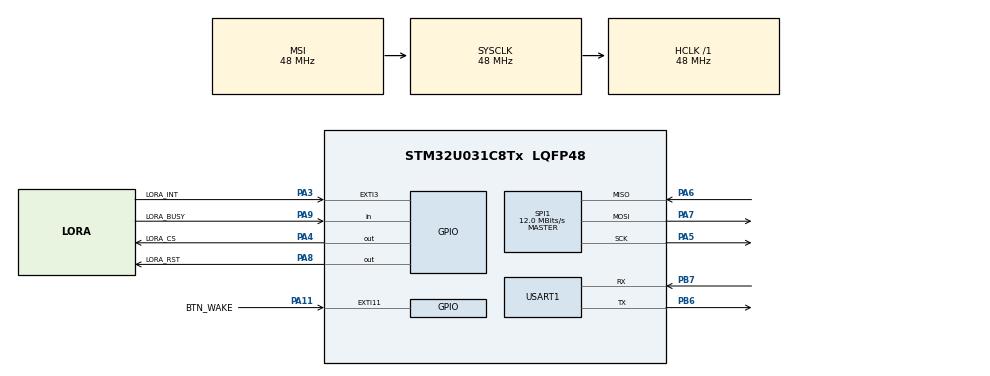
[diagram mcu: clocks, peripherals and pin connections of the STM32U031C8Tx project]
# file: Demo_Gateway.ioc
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Mcu.Family=STM32U0
Mcu.Name=STM32U031C8Tx
Mcu.Package=LQFP48
Mcu.UserConstants=RTC_PREDIV_A,((1<<(15-RTC_N_PREDIV_S))-1);RTC_N_PREDIV_S,10;RTC_PREDIV_S,((1<<RTC_N_PREDIV_S)-1)
NVIC.EXTI2_3_IRQn=true\:0\:0\:false\:false\:true\:true\:true\:true
NVIC.EXTI4_15_IRQn=true\:0\:0\:false\:false\:true\:true\:true\:true
NVIC.PriorityGroup=NVIC_PRIORITYGROUP_2
PA11\ [PA9].GPIO_Label=BTN_WAKE
PA11\ [PA9].GPIO_ModeDefaultEXTI=GPIO_MODE_IT_FALLING
PA11\ [PA9].Signal=GPXTI11
PA13\ (SWDIO).Mode=Serial_Wire
PA13\ (SWDIO).Signal=DEBUG_JTMS-SWDIO
PA14\ (SWCLK).Mode=Serial_Wire
PA14\ (SWCLK).Signal=DEBUG_JTCK-SWCLK
PA3.GPIO_Label=LORA_INT
PA3.Signal=GPXTI3
PA4.GPIO_Label=LORA_CS
PA4.PinState=GPIO_PIN_SET
PA4.Signal=GPIO_Output
PA5.Mode=Full_Duplex_Master
PA5.Signal=SPI1_SCK
PA6.Mode=Full_Duplex_Master
PA6.Signal=SPI1_MISO
PA7.Mode=Full_Duplex_Master
PA7.Signal=SPI1_MOSI
PA8.GPIO_Label=LORA_RST
PA8.PinState=GPIO_PIN_SET
PA8.Signal=GPIO_Output
PA9.GPIO_Label=LORA_BUSY
PA9.Signal=GPIO_Input
PB6.Mode=Asynchronous
PB6.Signal=USART1_TX
PB7.Mode=Asynchronous
PB7.Signal=USART1_RX
ProjectManager.HeapSize=0x200
ProjectManager.StackSize=0x400
ProjectManager.TargetToolchain=STM32CubeIDE
RCC.ADCFreq_Value=48000000
RCC.AHBFreq_Value=48000000
RCC.CortexFreq_Value=48000000
RCC.HCLKFreq_Value=48000000
RCC.HSE_VALUE=8000000
RCC.HSI48_VALUE=48000000
RCC.HSI_VALUE=16000000
RCC.LSE_VALUE=32768
RCC.MSIClockRangeVal=RCC_MSIRANGE_11
RCC.MSI_VALUE=48000000
RCC.PLLN=8
RCC.PLLP=RCC_PLLP_DIV8
RCC.PLLQ=RCC_PLLQ_DIV8
RCC.PLLR=RCC_PLLR_DIV4
RCC.PLLSourceVirtual=RCC_PLLSOURCE_MSI
RCC.SYSCLKFreq_VALUE=48000000
RCC.SYSCLKSource=RCC_SYSCLKSOURCE_MSI
RCC.VCOOutputFreq_Value=384000000
SPI1.BaudRatePrescaler=SPI_BAUDRATEPRESCALER_4
SPI1.CalculateBaudRate=12.0 MBits/s
SPI1.DataSize=SPI_DATASIZE_8BIT
SPI1.Direction=SPI_DIRECTION_2LINES
SPI1.Mode=SPI_MODE_MASTER
SPI1.VirtualType=VM_MASTER
USART1.VirtualMode-Asynchronous=VM_ASYNC
VP_PWR_VS_SECSignals.Mode=Security/Privilege
board=custom

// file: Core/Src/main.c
/* USER CODE BEGIN Header */
/**
  ******************************************************************************
  * @file           : main.c
  * @brief          : Main program body
  ******************************************************************************
  * @attention
  *
  * Copyright (c) 2024 STMicroelectronics.
  * All rights reserved.
  *
  * This software is licensed under terms that can be found in the LICENSE file
  * in the root directory of this software component.
  * If no LICENSE file comes with this software, it is provided AS-IS.
  *
  ******************************************************************************
  */
/* USER CODE END Header */
#include "main.h"
#include "spi.h"
#include "usart.h"
#include "gpio.h"

/* USER CODE BEGIN Includes */
#include "TraceLog/TraceLog.h"

#include "lora/radio/radio.h"
#include "lora/sx126x/sx126x_bsp.h"
#include "lora/sx126x/sx126x.h"
#include "string.h"
#include "stdio.h"

/* USER CODE END Includes */

/* USER CODE BEGIN PM */
#define RF_FREQUENCY 923000000  // Hz
#define TX_OUTPUT_POWER 22		// dBm
#define LORA_BANDWIDTH 0		// [0: 125 kHz, 1: 250 kHz, 2: 500 kHz, 3: Reserved]
#define LORA_SPREADING_FACTOR 7 // [SF7..SF12]
#define LORA_CODINGRATE 1		// [1: 4/5, 2: 4/6,  3: 4/7,  4: 4/8]
#define LORA_PREAMBLE_LENGTH 8  // Same for Tx and Rx
#define LORA_SYMBOL_TIMEOUT 0   // Symbols
#define LORA_FIX_LENGTH_PAYLOAD_ON false
#define LORA_IQ_INVERSION_ON false
#define BUFFER_SIZE 64 // Define the payload size here

#define ALL_DEVEUI       0xFF
#define CALLPOINT_DEVEUI 0x73
#define SENSOR_DEVEUI    0x74
/* USER CODE END PM */

/* USER CODE BEGIN PV */
typedef enum {
	CMD_UNKNOWN,
	CMD_STATUS,
	CMD_STATUS_DAILY,
	CMD_SET_STANDBY_TIME,
	CMD_ACK,
	CMD_STOP_SENSOR,
	CMD_STATUS_ENDCALLPOINT,
} lora_pktcmd_t;

typedef struct {
	/// Receive flag
	uint8_t recv;
	/// Received signal param
	int16_t rssi;
	int8_t  snr;
	/// Received payload
	uint8_t recvbuffer[BUFFER_SIZE];
	uint8_t recvlen;
	/// Received parse param
	uint8_t deveui;
	lora_pktcmd_t cmd;
	uint8_t value_len;
	uint8_t value[8];
	uint8_t req_ack;
} lora_rxpkt_t;
typedef struct {
	uint8_t deveui;
	lora_pktcmd_t cmd;
	uint8_t value_len;
	uint8_t value[8];
	uint8_t req_ack;
	uint8_t resp_ack;
} lora_txpkt_t;
/* USER CODE END PV */

void SystemClock_Config(void);
/* USER CODE BEGIN PFP */
void OnTxDone(void);
void OnRxDone(uint8_t *payload, uint16_t size, int16_t rssi, int8_t snr);
/* USER CODE END PFP */

/* USER CODE BEGIN 0 */
static const char *TAG = "GATEWAY";
static RadioEvents_t RadioEvents;

volatile uint8_t btn_press = 0, btn_acction = 0;
lora_rxpkt_t rxpkt = {
	.recv = 0,
	.rssi = 0,
	.snr  = 0,
	.recvlen = 0,
	.deveui = 0,
	.cmd = CMD_UNKNOWN,
	.value_len = 0,
	.req_ack = 0,
};
lora_txpkt_t txpkt = {
	.deveui = 0,
	.cmd = CMD_UNKNOWN,
	.value_len = 0,
	.req_ack = 0,
	.resp_ack = 1,
};
uint32_t ack_timeout = 0;

static void tracelog(char *str);
void send_packet(void);
/* USER CODE END 0 */

int main(void)
{

  /* MCU Configuration--------------------------------------------------------*/

  /* Reset of all peripherals, Initializes the Flash interface and the Systick. */
  HAL_Init();

  /* Configure the system clock */
  SystemClock_Config();

  /* Initialize all configured peripherals */
  MX_GPIO_Init();
  MX_SPI1_Init();
  MX_USART1_UART_Init();
  /* USER CODE BEGIN 2 */

  	log_monitor_init(tracelog);

	SX126xIoInit();
	uint16_t readSyncWord = 0;
	SX126xReadRegisters(REG_LR_SYNCWORD, (uint8_t *)&readSyncWord, 2);
	LOG_INFO(TAG, "SyncWord = 0x%04x", readSyncWord);

	RadioEvents.TxDone = OnTxDone;
	RadioEvents.RxDone = OnRxDone;
	Radio.Init(&RadioEvents);
	Radio.SetChannel(RF_FREQUENCY);

	Radio.SetTxConfig(MODEM_LORA, TX_OUTPUT_POWER, 0, LORA_BANDWIDTH,
					  LORA_SPREADING_FACTOR, LORA_CODINGRATE,
					  LORA_PREAMBLE_LENGTH, LORA_FIX_LENGTH_PAYLOAD_ON,
					  true, 0, 0, LORA_IQ_INVERSION_ON, 0);
	Radio.SetRxConfig(MODEM_LORA, LORA_BANDWIDTH, LORA_SPREADING_FACTOR,
					  LORA_CODINGRATE, 0, LORA_PREAMBLE_LENGTH,
					  LORA_SYMBOL_TIMEOUT, LORA_FIX_LENGTH_PAYLOAD_ON,
					  0, true, 0, 0, LORA_IQ_INVERSION_ON, true);
	LOG_INFO(TAG, "Starting Gateway");
	Radio.Rx(0);

  /* USER CODE END 2 */

  /* Infinite loop */
  while (1)
  {

    /* USER CODE BEGIN 3 */
	  Radio.BgIrqProcess();

	  /// Button press
	  if(btn_press == 1){
		  btn_press = 0;
		  if(btn_acction == 1){
	  		  /// Send standby time if process was not started.
			  txpkt.deveui = ALL_DEVEUI;
			  txpkt.cmd = CMD_SET_STANDBY_TIME;
			  txpkt.value_len = 1;
			  txpkt.value[0] = 10;
			  txpkt.req_ack = 1;
			  send_packet();
			  LOG_EVENT(TAG, "Sent standby time to all device.");
		  }
		  else{
			  txpkt.deveui = SENSOR_DEVEUI;
			  txpkt.cmd = CMD_STOP_SENSOR;
			  txpkt.value_len = 0;
			  txpkt.req_ack = 1;
			  send_packet();
			  LOG_EVENT(TAG, "Sent stop measure sensor to light-sound device.");
		  }
	  }

	  /// Check ACK timeout
	  if(txpkt.req_ack == 1 && txpkt.resp_ack == 0){
		  if(HAL_GetTick() - ack_timeout > 5000){
			  LOG_ERROR(TAG, "DevEUI 0x%02x not response ACK.", txpkt.deveui);
			  txpkt.req_ack = 0;
		  }
	  }

	  /// Packet receive from device
	  if(rxpkt.recv == 1){
		  switch(rxpkt.cmd){
		  	  case CMD_ACK:
		  		  txpkt.req_ack = 0;
		  		  txpkt.resp_ack = 1;
		  		  LOG_INFO(TAG, "DevEUI 0x%02x responsed ACK.", rxpkt.deveui);
			  break;
			  break;
		  	  case CMD_STATUS:
		  	  case CMD_STATUS_DAILY:
		  		  LOG_WARN(TAG, "DevEUI 0x%02x sent status %d param, payload:", rxpkt.deveui, rxpkt.value_len);
		  		  for(uint8_t i=0; i<rxpkt.value_len; i++)
		  			LOG_INFO(TAG, "%d", rxpkt.value[i]);
		  	  break;
		  	  case CMD_STATUS_ENDCALLPOINT:
		  		  LOG_INFO(TAG, "CallPoint stopped motor.");
		  	  break;
		  	  default:
		  	  break;
		  }
		  /// Packet require ACK
		  if(rxpkt.req_ack == 1){
			  txpkt.deveui = rxpkt.deveui;
			  txpkt.cmd = CMD_ACK;
			  txpkt.value_len = 0;
			  txpkt.req_ack = 0;
			  send_packet();
			  LOG_EVENT(TAG, "Sent ACK to DevEUI 0x%02x.", txpkt.deveui);
		  }

		  rxpkt.recv = 0;
		  rxpkt.recvlen = 0;
		  rxpkt.deveui = 0;
		  rxpkt.cmd = CMD_UNKNOWN;
		  rxpkt.value_len = 0;
	  }
  }
  /* USER CODE END 3 */
}

void SystemClock_Config(void)
{
  RCC_OscInitTypeDef RCC_OscInitStruct = {0};
  RCC_ClkInitTypeDef RCC_ClkInitStruct = {0};

  /** Configure the main internal regulator output voltage
  */
  HAL_PWREx_ControlVoltageScaling(PWR_REGULATOR_VOLTAGE_SCALE1);

  /** Initializes the RCC Oscillators according to the specified parameters
  * in the RCC_OscInitTypeDef structure.
  */
  RCC_OscInitStruct.OscillatorType = RCC_OSCILLATORTYPE_MSI;
  RCC_OscInitStruct.MSIState = RCC_MSI_ON;
  RCC_OscInitStruct.MSICalibrationValue = RCC_MSICALIBRATION_DEFAULT;
  RCC_OscInitStruct.MSIClockRange = RCC_MSIRANGE_11;
  RCC_OscInitStruct.PLL.PLLState = RCC_PLL_NONE;
  if (HAL_RCC_OscConfig(&RCC_OscInitStruct) != HAL_OK)
  {
    Error_Handler();
  }

  /** Initializes the CPU, AHB and APB buses clocks
  */
  RCC_ClkInitStruct.ClockType = RCC_CLOCKTYPE_HCLK|RCC_CLOCKTYPE_SYSCLK
                              |RCC_CLOCKTYPE_PCLK1;
  RCC_ClkInitStruct.SYSCLKSource = RCC_SYSCLKSOURCE_MSI;
  RCC_ClkInitStruct.AHBCLKDivider = RCC_SYSCLK_DIV1;
  RCC_ClkInitStruct.APB1CLKDivider = RCC_HCLK_DIV1;

  if (HAL_RCC_ClockConfig(&RCC_ClkInitStruct, FLASH_LATENCY_1) != HAL_OK)
  {
    Error_Handler();
  }
}

/* USER CODE BEGIN 4 */
void HAL_GPIO_EXTI_Rising_Callback(uint16_t GPIO_Pin){
	if(GPIO_Pin == LORA_INT_Pin){
		extern void RadioOnDioIrq(void);
		RadioOnDioIrq();
	}
}
void HAL_GPIO_EXTI_Falling_Callback(uint16_t GPIO_Pin){
	if(GPIO_Pin == BTN_WAKE_Pin){
		for(uint32_t i=0; i<120000; i++) __NOP(); //10ms
		if(HAL_GPIO_ReadPin(BTN_WAKE_GPIO_Port, BTN_WAKE_Pin) == GPIO_PIN_RESET){
			btn_press = 1;
			btn_acction = !btn_acction;
		}
	}
}

static void tracelog(char *str){
	HAL_UART_Transmit(&huart1, (uint8_t *)str, strlen(str), 1000);
}

void send_packet(void){
	uint8_t txbuffer[BUFFER_SIZE];

	txpkt.resp_ack = 0;
	txbuffer[0] = txpkt.deveui;
	txbuffer[1] = (uint8_t)txpkt.cmd;
	txbuffer[2] = txpkt.req_ack;
	txbuffer[3] = txpkt.value_len;
	for(uint8_t i=0; i<txpkt.value_len; i++)
		txbuffer[4+i] = txpkt.value[i];

	if(txpkt.req_ack == 1) ack_timeout = HAL_GetTick();

	Radio.Send(txbuffer, 4+txpkt.value_len);
}

void OnTxDone(void){
	Radio.Rx(0);
}

/**@brief Function to be executed on Radio Rx Done event
 */
void OnRxDone(uint8_t *payload, uint16_t size, int16_t rssi, int8_t snr){
	rxpkt.recv = 1;

	rxpkt.rssi = rssi;
	rxpkt.snr = snr;

	rxpkt.recvlen = size;
	memset(rxpkt.recvbuffer, 0, BUFFER_SIZE);
	memcpy(rxpkt.recvbuffer, payload, rxpkt.recvlen);

	rxpkt.deveui = rxpkt.recvbuffer[0];
	rxpkt.cmd = (lora_pktcmd_t)rxpkt.recvbuffer[1];
	rxpkt.req_ack = rxpkt.recvbuffer[2];
	rxpkt.value_len = rxpkt.recvbuffer[3];
	for(uint8_t i=0; i<rxpkt.value_len; i++)
		rxpkt.value[i] = rxpkt.recvbuffer[i+4];
}

/* USER CODE END 4 */

void Error_Handler(void)
{
  __disable_irq();
  while (1)
  {
  }
}
